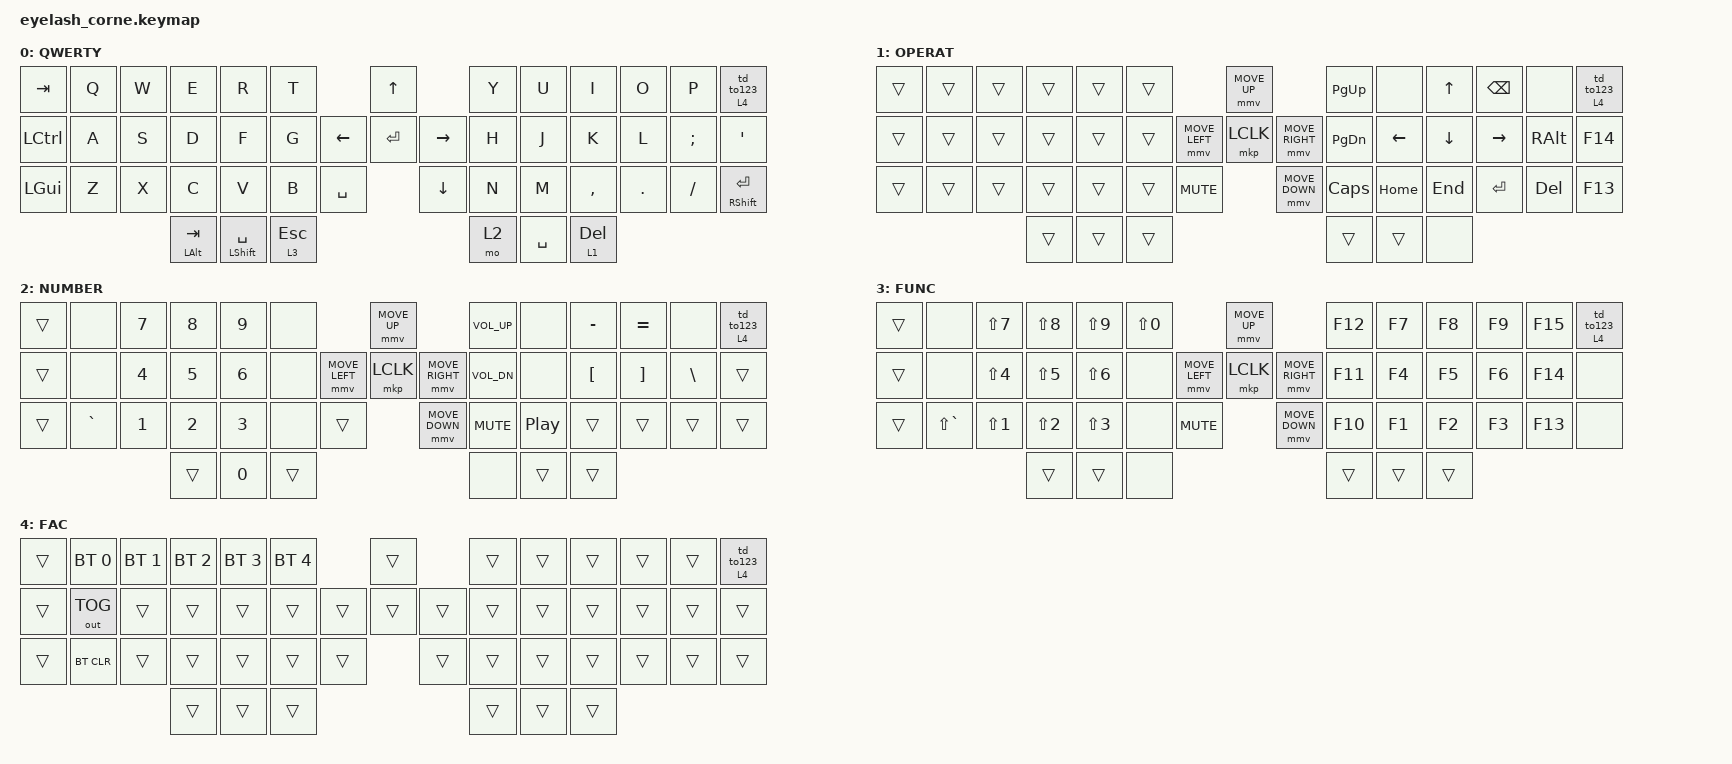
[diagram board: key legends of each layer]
#define ZMK_POINTING_DEFAULT_MOVE_VAL 1200  // 600
#define ZMK_POINTING_DEFAULT_SCRL_VAL 25   // 10

#include <input/processors.dtsi>
#include <zephyr/dt-bindings/input/input-event-codes.h>
#include <behaviors.dtsi>
#include <dt-bindings/zmk/bt.h>
#include <dt-bindings/zmk/keys.h>
#include <dt-bindings/zmk/outputs.h>
#include <dt-bindings/zmk/pointing.h>
#include <dt-bindings/zmk/rgb.h>

&mmv_input_listener { input-processors = <&zip_xy_scaler 2 1>; };

&msc_input_listener { input-processors = <&zip_scroll_scaler 2 1>; };

&msc {
    acceleration-exponent = <1>;      // 0
    time-to-max-speed-ms = <100>;       // 300
    delay-ms = <0>;                   // 0
};

&mmv {
    time-to-max-speed-ms = <500>;
    acceleration-exponent = <1>;
    trigger-period-ms = <16>;
};

/ {
    behaviors {
        td_to123: td_to123 {
            compatible = "zmk,behavior-tap-dance";
            label = "TD_TO123";
            #binding-cells = <0>;
            tapping-term-ms = <300>;
            bindings = <&to 0>, <&to 1>, <&to 2>;
        };

        ht_td_to: ht_td_to {
            compatible = "zmk,behavior-hold-tap";
            label = "HT_TD_TO";
            #binding-cells = <2>;
            flavor = "tap-preferred";
            tapping-term-ms = <300>;
            bindings = <&to>, <&td_to123>;
        };

        mt_short: mt_short {
            compatible = "zmk,behavior-hold-tap";
            label = "MT_SHORT";
            bindings = <&kp>, <&kp>;

            #binding-cells = <2>;
            tapping-term-ms = <100>;
        };

        lt: layer_tap { tapping-term-ms = <125>; };

        mt: mod_tap { tapping-term-ms = <125>; };
    };

    rgb_encoder: rgb_encoder {
        compatible = "zmk,behavior-sensor-rotate";
        #sensor-binding-cells = <0>;
        bindings = <&rgb_ug RGB_BRI>, <&rgb_ug RGB_BRD>;
    };

    scroll_encoder: scroll_encoder {
        compatible = "zmk,behavior-sensor-rotate";
        #sensor-binding-cells = <0>;
        bindings = <&msc SCRL_DOWN>, <&msc SCRL_UP>;

        tap-ms = <100>;
    };

    combos {
        compatible = "zmk,combos";

        jk {
            bindings = <&kp RALT>;
            key-positions = <23 24>;
            timeout-ms = <30>;
            layers = <0>;
        };

        enter {
            bindings = <&kp ENTER>;
            key-positions = <44 45>;
            timeout-ms = <40>;
            layers = <0 2 1 3>;
        };
    };

    keymap {
        compatible = "zmk,keymap";

        default_layer {
            display-name = "QWERTY";
            bindings = <
&kp TAB    &kp Q  &kp W  &kp E         &kp R                 &kp T                             &kp UP                &kp Y  &kp U      &kp I      &kp O    &kp P     &ht_td_to 4 0
&kp LCTRL  &kp A  &kp S  &kp D         &kp F                 &kp G                   &kp LEFT  &kp ENTER  &kp RIGHT  &kp H  &kp J      &kp K      &kp L    &kp SEMI  &kp SQT
&kp LGUI   &kp Z  &kp X  &kp C         &kp V                 &kp B      &kp SPACE              &kp DOWN              &kp N  &kp M      &kp COMMA  &kp DOT  &kp FSLH  &mt RSHFT ENTER
                         &mt LALT TAB  &mt LEFT_SHIFT SPACE  &lt 3 ESC                                               &mo 2  &kp SPACE  &lt 1 DEL
            >;
        };

        operation_layer {
            display-name = "OPERAT";
            bindings = <
&trans  &trans  &trans  &trans  &trans  &trans                                &mmv MOVE_UP                     &kp PAGE_UP    &none     &kp UP    &kp BACKSPACE  &none     &ht_td_to 4 0
&trans  &trans  &trans  &trans  &trans  &trans                &mmv MOVE_LEFT  &mkp LCLK       &mmv MOVE_RIGHT  &kp PAGE_DOWN  &kp LEFT  &kp DOWN  &kp RIGHT      &kp RALT  &kp F14
&trans  &trans  &trans  &trans  &trans  &trans  &kp C_MUTE                    &mmv MOVE_DOWN                   &kp CAPS       &kp HOME  &kp END   &kp ENTER      &kp DEL   &kp F13
                        &trans  &trans  &trans                                                                 &trans         &trans    &none
            >;
        };

        number_layer {
            display-name = "NUMBER";
            bindings = <
&trans  &none      &kp N7  &kp N8  &kp N9        &none                             &mmv MOVE_UP                     &kp C_VOL_UP  &none             &kp MINUS         &kp EQUAL          &none          &ht_td_to 4 0
&trans  &none      &kp N4  &kp N5  &kp NUMBER_6  &none             &mmv MOVE_LEFT  &mkp LCLK       &mmv MOVE_RIGHT  &kp C_VOL_DN  &none             &kp LEFT_BRACKET  &kp RIGHT_BRACKET  &kp BACKSLASH  &trans
&trans  &kp GRAVE  &kp N1  &kp N2  &kp N3        &none   &trans                    &mmv MOVE_DOWN                   &kp C_MUTE    &kp C_PLAY_PAUSE  &trans            &trans             &trans         &trans
                           &trans  &kp N0        &trans                                                             &none         &trans            &trans
            >;
        };

        function_layer {
            display-name = "FUNC";
            bindings = <
&trans  &none          &kp LS(N7)  &kp LS(N8)        &kp LS(N9)  &kp LS(N0)                                &mmv MOVE_UP                     &kp F12  &kp F7  &kp F8  &kp F9  &kp F15  &ht_td_to 4 0
&trans  &none          &kp LS(N4)  &kp LS(NUMBER_5)  &kp LS(N6)  &none                     &mmv MOVE_LEFT  &mkp LCLK       &mmv MOVE_RIGHT  &kp F11  &kp F4  &kp F5  &kp F6  &kp F14  &none
&trans  &kp LS(GRAVE)  &kp LS(N1)  &kp LS(N2)        &kp LS(N3)  &none       &kp C_MUTE                    &mmv MOVE_DOWN                   &kp F10  &kp F1  &kp F2  &kp F3  &kp F13  &none
                                   &trans            &trans      &none                                                                      &trans   &trans  &trans
            >;
        };

        factory_layer {
            bindings = <
&trans  &bt BT_SEL 0  &bt BT_SEL 1  &bt BT_SEL 2  &bt BT_SEL 3  &bt BT_SEL 4                    &trans          &trans  &trans  &trans  &trans  &trans  &ht_td_to 4 0
&trans  &out OUT_TOG  &trans        &trans        &trans        &trans                  &trans  &trans  &trans  &trans  &trans  &trans  &trans  &trans  &trans
&trans  &bt BT_CLR    &trans        &trans        &trans        &trans        &trans            &trans          &trans  &trans  &trans  &trans  &trans  &trans
                                    &trans        &trans        &trans                                          &trans  &trans  &trans
            >;

            label = "FAC";
        };
    };
};
